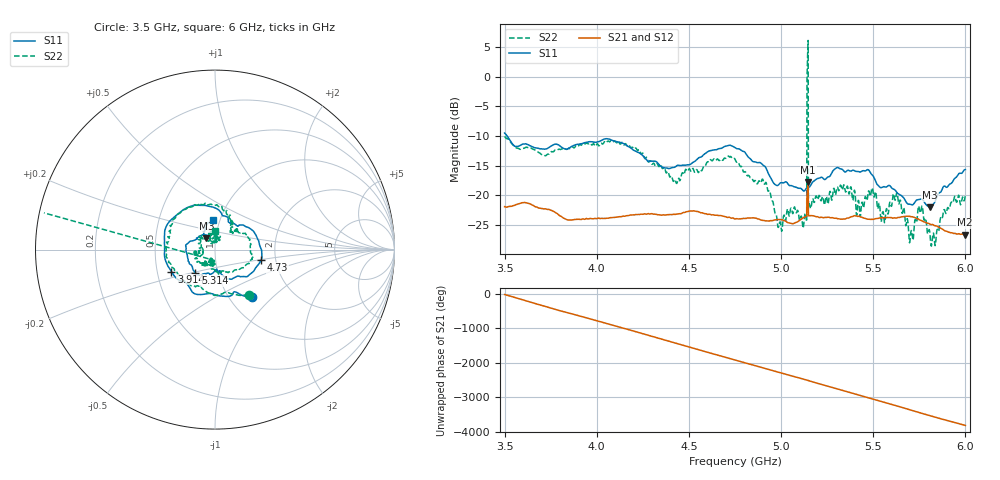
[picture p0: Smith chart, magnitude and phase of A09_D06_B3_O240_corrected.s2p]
! Created with skrf 1.9.0 (http://scikit-rf.org).
# Hz S RI R 50.0
!freq ReS11 ImS11 ReS21 ImS21 ReS12 ImS12 ReS22 ImS22
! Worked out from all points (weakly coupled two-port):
!   1601 points, 3.5 GHz to 6 GHz, reference 50 ohm
!   highest |S21| = -17.74 dB at 5.147 GHz (marker M1); lowest = -26.6 dB at 5.995 GHz (marker M2)
!   lowest |S11| = -22.0 dB at 5.808 GHz (marker M3), VSWR 1.17, Z = 45 + j5.71 ohm
!   |S11| at or under -10 dB: 3.514 GHz to end of sweep
!   |S22| runs from -28.5 to 6.1 dB; largest |S21 - S12| = 0.0011
!   S11 on the Smith chart (normalised r, x): 3.5 GHz: 1.26, -0.76; 3.914 GHz: 0.59, -0.16; 4.73 GHz: 1.67, -0.21; 5.314 GHz: 0.78, -0.21; 6 GHz: 0.92, +0.31
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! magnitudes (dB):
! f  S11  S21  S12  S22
! 3.5 GHz  -9.5  -21.9  -21.9  -10.0
! 3.914 GHz  -11.3  -24.1  -24.0  -11.5
! 3.917 GHz  -11.3  -24.0  -24.0  -11.5
! 4.334 GHz  -14.7  -23.2  -23.2  -15.0
! 4.427 GHz  -15.2  -23.2  -23.1  -17.5
! 4.73 GHz  -11.6  -23.8  -23.7  -13.5
! 4.75 GHz  -11.9  -24.0  -23.9  -13.9
! 4.911 GHz  -15.1  -24.2  -24.2  -18.1
! 4.994 GHz  -18.0  -24.1  -24.0  -24.5
! 5.127 GHz  -19.2  -23.7  -23.7  -23.8
! 5.134 GHz  -18.9  -23.6  -23.5  -23.4
! 5.147 GHz  -18.6  -17.7  -17.7  6.1
! 5.153 GHz  -18.6  -23.4  -23.4  -21.4
! 5.167 GHz  -17.9  -23.4  -23.4  -21.1
! 5.314 GHz  -15.4  -23.9  -23.9  -19.2
! 5.584 GHz  -18.3  -23.7  -23.7  -22.4
! 5.636 GHz  -19.7  -23.7  -23.7  -21.0
! 5.706 GHz  -21.5  -23.6  -23.5  -25.9
! 5.756 GHz  -20.6  -24.2  -24.1  -22.9
! 5.808 GHz  -22.0  -24.8  -24.8  -26.4
! 5.995 GHz  -15.7  -26.6  -26.5  -20.7
! 6 GHz  -15.6  -26.6  -26.5  -19.9
